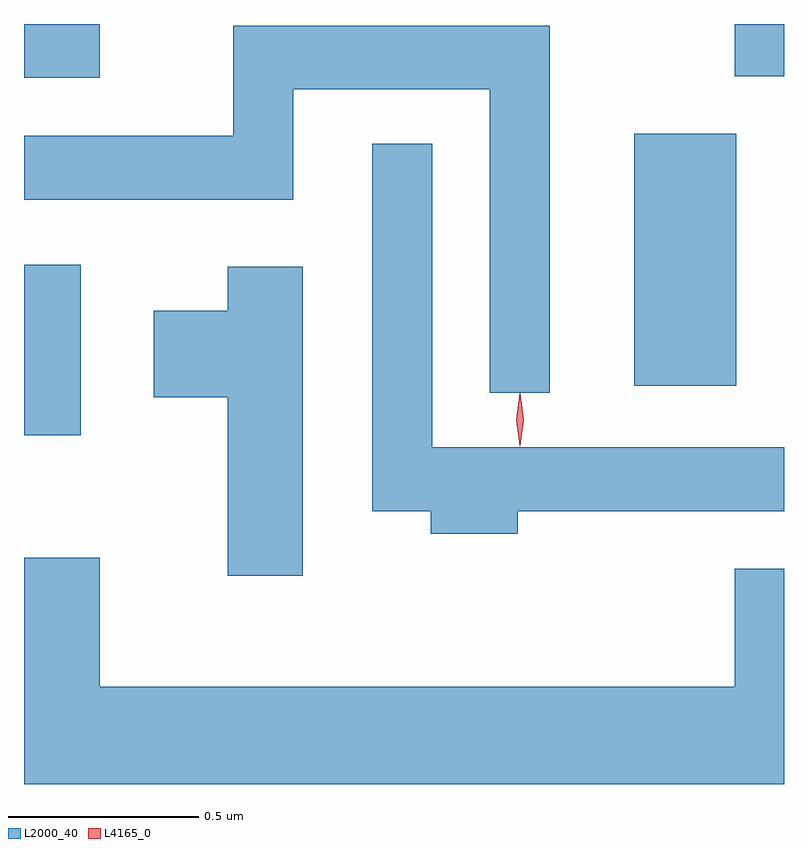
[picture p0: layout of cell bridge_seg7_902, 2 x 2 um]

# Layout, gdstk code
import gdstk
lib = gdstk.Library(unit=1e-6, precision=1e-09)
def R(c, l, rs):  # rectangles x0, y0, x1, y1
    for r in rs: c.add(gdstk.rectangle(r[:2], r[2:], *l))
def P(c, l, *ps):  # polygons
    for p in ps: c.add(gdstk.Polygon(p, *l))
L2000_40 = (2000, 40)
L4165_0 = (4165, 0)

bridge_seg7_902 = lib.new_cell('bridge_seg7_902')
R(bridge_seg7_902, L2000_40, [(318.36,1690.826,318.509,1691.274), (319.966,1690.956,320.234,1691.619), (318.36,1691.766,318.559,1691.908), (320.231,1691.771,320.36,1691.908)])
P(bridge_seg7_902, L2000_40, [(319.744,1691.904),(318.911,1691.904),(318.911,1691.614),(318.36,1691.614),(318.36,1691.446),(319.069,1691.446),(319.069,1691.736),(319.586,1691.736),(319.586,1690.938),(319.744,1690.938)],
  [(319.659,1690.626),(320.36,1690.626),(320.36,1690.794),(319.434,1690.794),(319.434,1691.593),(319.276,1691.593),(319.276,1690.626),(319.431,1690.626),(319.431,1690.566),(319.659,1690.566)],
  [(319.094,1691.269),(318.896,1691.269),(318.896,1691.154),(318.701,1691.154),(318.701,1690.926),(318.896,1690.926),(318.896,1690.456),(319.094,1690.456)],
  [(320.36,1690.474),(320.231,1690.474),(320.231,1690.164),(318.559,1690.164),(318.559,1690.504),(318.36,1690.504),(318.36,1689.908),(320.36,1689.908)])
P(bridge_seg7_902, L4165_0, [(319.665,1690.797),(319.665,1690.798),(319.655,1690.867),(319.665,1690.936),(319.665,1690.936),(319.666,1690.936),(319.675,1690.867),(319.666,1690.798)],
  [(319.665,1690.8),(319.665,1690.8),(319.655,1690.866),(319.665,1690.932),(319.665,1690.933),(319.666,1690.932),(319.675,1690.866),(319.666,1690.8)])

lib.write_gds('bridge_seg7_902.gds')
